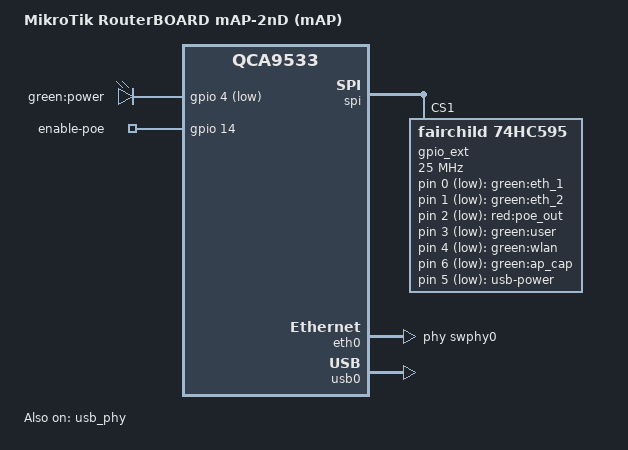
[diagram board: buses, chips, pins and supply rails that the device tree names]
// SPDX-License-Identifier: GPL-2.0-or-later OR MIT

#include "qca9533_mikrotik_routerboard-16m.dtsi"

/ {
	compatible = "mikrotik,routerboard-map-2nd", "qca,qca9533";
	model = "MikroTik RouterBOARD mAP-2nD (mAP)";

	aliases {
		led-boot = &led_user;
		led-failsafe = &led_user;
		led-running = &led_user;
		led-upgrade = &led_user;
	};

	leds {
		compatible = "gpio-leds";

		power {
			label = "green:power";
			gpios = <&gpio 4 GPIO_ACTIVE_LOW>;
			default-state = "on";
		};

		eth_1 {
			label = "green:eth_1";
			gpios = <&gpio_ext 0 GPIO_ACTIVE_LOW>;
		};

		eth_2 {
			label = "green:eth_2";
			gpios = <&gpio_ext 1 GPIO_ACTIVE_LOW>;
		};

		poe_out {
			label = "red:poe_out";
			gpios = <&gpio_ext 2 GPIO_ACTIVE_LOW>;
		};

		led_user: user {
			label = "green:user";
			gpios = <&gpio_ext 3 GPIO_ACTIVE_LOW>;
		};

		wlan {
			label = "green:wlan";
			gpios = <&gpio_ext 4 GPIO_ACTIVE_LOW>;
			linux,default-trigger = "phy0tpt";
		};

		ap_cap {
			label = "green:ap_cap";
			gpios = <&gpio_ext 6 GPIO_ACTIVE_LOW>;
		};

	};

	gpio-export {
		compatible = "gpio-export";

		usb_power {
			gpio-export,name = "usb-power";
			gpio-export,output = <1>;
			gpios = <&gpio_ext 5 GPIO_ACTIVE_LOW>;
		};

		enable_poe_port5 {
			gpio-export,name = "enable-poe";
			gpio-export,output = <0>;
			gpios = <&gpio 14 GPIO_ACTIVE_HIGH>;
		};
	};
};

&spi {
	pinctrl-names = "default";
	pinctrl-0 = <&pin_spi_cs1>;

	gpio_ext: gpio_ext@1 {
		compatible = "fairchild,74hc595";
		reg = <1>;
		gpio-controller;
		#gpio-cells = <2>;
		registers-number = <1>;
		spi-max-frequency = <25000000>;
	};
};


&pinmux {
	pin_spi_cs1: pinmux_spi_cs1 {
		pinctrl-single,bits = <0x8 0x0a000000 0xff000000>;
	};
};

&eth0 {
	status = "okay";

	phy-handle = <&swphy0>;

	gmac-config {
		device = <&gmac>;
		switch-phy-swap = <1>;
	};
};

&usb0 {
	status = "okay";
};

&usb_phy {
	status = "okay";
};
